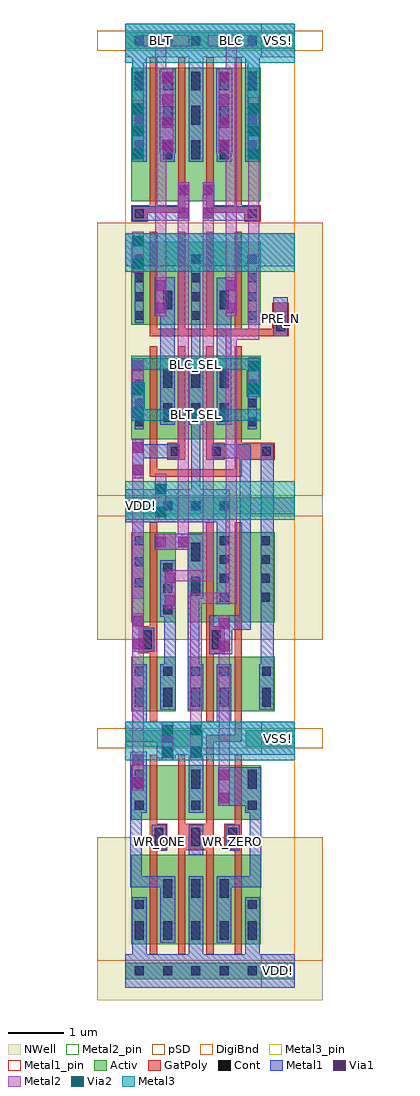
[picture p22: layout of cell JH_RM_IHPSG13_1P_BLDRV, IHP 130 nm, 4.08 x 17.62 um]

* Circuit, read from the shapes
.subckt JH_RM_IHPSG13_1P_BLDRV BLC BLC_SEL BLT BLT_SEL PRE_N SEL_P VDD! VSS! WR_ONE WR_ZERO
XM1 n1 WR_ONE n2 VSS! sg13_lv_nmos w=0.98u l=0.13u
XM2 n3 n2 VSS! VSS! sg13_lv_nmos w=0.98u l=0.13u
XM3 BLT n4 VSS! VSS! sg13_lv_nmos w=2.41u l=0.13u m=2
XM4 VSS! SEL_P n1 VSS! sg13_lv_nmos w=0.98u l=0.13u
XM5 n5 SEL_P VSS! VSS! sg13_lv_nmos w=0.98u l=0.13u
XM6 VSS! n6 n4 VSS! sg13_lv_nmos w=0.98u l=0.13u
XM7 BLC n3 VSS! VSS! sg13_lv_nmos w=2.41u l=0.13u m=2
XM8 n6 WR_ZERO n5 VSS! sg13_lv_nmos w=0.98u l=0.13u
XM9 n7 SEL_P VSS! VSS! sg13_lv_nmos w=0.98u l=0.13u
XM10 n2 WR_ONE VDD! VDD! sg13_lv_pmos w=1.62u l=0.13u
XM11 n3 n2 VDD! VDD! sg13_lv_pmos w=1.62u l=0.13u
XM12 BLT n7 BLT_SEL VDD! sg13_lv_pmos w=1.5u l=0.13u
XM13 BLT PRE_N VDD! VDD! sg13_lv_pmos w=1.5u l=0.13u m=2
XM14 VDD! SEL_P n2 VDD! sg13_lv_pmos w=1.62u l=0.13u
XM15 VDD! n2 BLT VDD! sg13_lv_pmos w=1.5u l=0.13u
XM16 n6 SEL_P VDD! VDD! sg13_lv_pmos w=1.62u l=0.13u
XM17 VDD! n6 n4 VDD! sg13_lv_pmos w=1.62u l=0.13u
XM18 BLC n6 VDD! VDD! sg13_lv_pmos w=1.5u l=0.13u
XM19 BLC PRE_N VDD! VDD! sg13_lv_pmos w=1.5u l=0.13u m=2
XM20 VDD! WR_ZERO n6 VDD! sg13_lv_pmos w=1.62u l=0.13u
XM21 n7 SEL_P VDD! VDD! sg13_lv_pmos w=1.62u l=0.13u
XM22 BLC_SEL n7 BLC VDD! sg13_lv_pmos w=1.5u l=0.13u
.ends

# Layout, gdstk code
from math import pi, radians
import gdstk
lib = gdstk.Library(unit=1e-6, precision=1e-09)
def R(c, l, rs):  # rectangles x0, y0, x1, y1
    for r in rs: c.add(gdstk.rectangle(r[:2], r[2:], *l))
def A(c, l, x, y, w, h, nx, ny, dx, dy):  # array of equal rectangles
    R(c, l, [(x+i*dx, y+j*dy, x+i*dx+w, y+j*dy+h) for i in range(nx) for j in range(ny)])
def P(c, l, *ps):  # polygons
    for p in ps: c.add(gdstk.Polygon(p, *l))
Activ = (1, 0)
GatPoly = (5, 0)
Cont = (6, 0)
Metal1 = (8, 0)
Metal1_pin = (8, 2)
Metal2 = (10, 0)
Metal2_pin = (10, 2)
pSD = (14, 0)
DigiBnd = (16, 0)
Via1 = (19, 0)
Via2 = (29, 0)
Metal3 = (30, 0)
Metal3_pin = (30, 2)
NWell = (31, 0)

jh_viagen23_cdns_7564811 = lib.new_cell('JH_viagen23_CDNS_7564811692532')
R(jh_viagen23_cdns_7564811, Metal2, [(-0.105,-0.35,0.105,0.35)])
R(jh_viagen23_cdns_7564811, Via2, [(-0.095,-0.3,0.095,-0.11), (-0.095,0.11,0.095,0.3)])
R(jh_viagen23_cdns_7564811, Metal3, [(-0.1,-0.35,0.1,0.35)])

jh_viagen12_cdns_7564811 = lib.new_cell('JH_viagen12_CDNS_7564811692533')
R(jh_viagen12_cdns_7564811, Metal1, [(-0.105,-0.35,0.105,0.35)])
R(jh_viagen12_cdns_7564811, Metal2, [(-0.1,-0.35,0.1,0.35)])
R(jh_viagen12_cdns_7564811, Via1, [(-0.095,-0.3,0.095,-0.11), (-0.095,0.11,0.095,0.3)])

c_jh_viagen12_cdns_7564811 = lib.new_cell('JH_viagen12_CDNS_7564811692534')
R(c_jh_viagen12_cdns_7564811, Metal1, [(-0.145,-0.76,0.145,0.76)])
R(c_jh_viagen12_cdns_7564811, Metal2, [(-0.1,-0.76,0.1,0.76)])
A(c_jh_viagen12_cdns_7564811, Via1, -0.095, -0.71, 0.19, 0.19, 1, 4, 0, 0.41)

jh_m2_m1_cdns_7564811692 = lib.new_cell('JH_M2_M1_CDNS_7564811692535')
R(jh_m2_m1_cdns_7564811692, Metal1, [(-0.31,-0.145,0.56,0.145)])
R(jh_m2_m1_cdns_7564811692, Metal2, [(-0.305,-0.145,0.305,0.145)])
R(jh_m2_m1_cdns_7564811692, Via1, [(-0.3,-0.095,-0.11,0.095), (0.11,-0.095,0.3,0.095)])

c_jh_viagen23_cdns_7564811 = lib.new_cell('JH_viagen23_CDNS_7564811692536')
R(c_jh_viagen23_cdns_7564811, Metal2, [(-0.1,-0.35,0.1,0.35)])
R(c_jh_viagen23_cdns_7564811, Via2, [(-0.095,-0.3,0.095,-0.11), (-0.095,0.11,0.095,0.3)])
R(c_jh_viagen23_cdns_7564811, Metal3, [(-0.125,-0.35,0.125,0.35)])

c_jh_viagen23_cdns_7564811_ = lib.new_cell('JH_viagen23_CDNS_7564811692537')
R(c_jh_viagen23_cdns_7564811_, Metal2, [(-0.1,-0.35,0.1,0.35)])
R(c_jh_viagen23_cdns_7564811_, Via2, [(-0.095,-0.3,0.095,-0.11), (-0.095,0.11,0.095,0.3)])
R(c_jh_viagen23_cdns_7564811_, Metal3, [(-0.1,-0.35,0.1,0.35)])

c_jh_viagen12_cdns_7564811_ = lib.new_cell('JH_viagen12_CDNS_7564811692538')
R(c_jh_viagen12_cdns_7564811_, Metal1, [(-0.105,-0.35,0.105,0.35)])
R(c_jh_viagen12_cdns_7564811_, Metal2, [(-0.1,-0.37,0.1,0.37)])
R(c_jh_viagen12_cdns_7564811_, Via1, [(-0.095,-0.3,0.095,-0.11), (-0.095,0.11,0.095,0.3)])

c_jh_viagen12_cdns_7564811__ = lib.new_cell('JH_viagen12_CDNS_7564811692539')
R(c_jh_viagen12_cdns_7564811__, Metal1, [(-0.105,-0.555,0.105,0.555)])
R(c_jh_viagen12_cdns_7564811__, Metal2, [(-0.1,-0.555,0.1,0.555)])
A(c_jh_viagen12_cdns_7564811__, Via1, -0.095, -0.505, 0.19, 0.19, 1, 3, 0, 0.41)

c_jh_viagen23_cdns_7564811__ = lib.new_cell('JH_viagen23_CDNS_7564811692540')
R(c_jh_viagen23_cdns_7564811__, Metal2, [(-0.1,-0.555,0.1,0.555)])
A(c_jh_viagen23_cdns_7564811__, Via2, -0.095, -0.505, 0.19, 0.19, 1, 3, 0, 0.41)
R(c_jh_viagen23_cdns_7564811__, Metal3, [(-0.105,-0.555,0.105,0.555)])

c_jh_viagen12_cdns_7564811___ = lib.new_cell('JH_viagen12_CDNS_7564811692541')
R(c_jh_viagen12_cdns_7564811___, Metal1, [(-0.145,-0.31,0.145,0.31)])
R(c_jh_viagen12_cdns_7564811___, Metal2, [(-0.1,-0.35,0.1,0.35)])
R(c_jh_viagen12_cdns_7564811___, Via1, [(-0.095,-0.3,0.095,-0.11), (-0.095,0.11,0.095,0.3)])

jh_rm_ihpsg13_1p_bldrv = lib.new_cell('JH_RM_IHPSG13_1P_BLDRV')
A(jh_rm_ihpsg13_1p_bldrv, Activ, 0, -4.35, 3.06, 0.3, 1, 3, 0, 8.4)
R(jh_rm_ihpsg13_1p_bldrv, Activ, [(0.105,-3.72,2.445,-2.1), (0.105,-1.47,2.445,-0.49), (0,-0.15,1.395,0.15), (2.175,-0.15,3.06,0.15), (0.105,0.49,0.915,1.47), (1.125,0.49,2.7,1.47), (0.105,2.1,0.915,3.72), (1.125,2.1,2.7,3.72), (0.105,5.405,2.445,6.905), (0.105,7.465,2.445,8.965), (0.105,9.7,2.445,12.11)])
P(jh_rm_ihpsg13_1p_bldrv, GatPoly, [(0.445,0.3),(0.445,1.54),(0.245,1.54),(0.245,2.02),(0.445,2.02),(0.445,3.9),(0.575,3.9),(0.575,0.3)],
  [(0.445,-3.9),(0.445,-0.3),(0.575,-0.3),(0.575,-1.54),(0.76,-1.54),(0.76,-2.02),(0.575,-2.02),(0.575,-3.9)],
  [(0.105,9.325),(0.105,9.625),(0.445,9.625),(0.445,12.3),(0.575,12.3),(0.575,9.625),(0.955,9.625),(0.955,12.3),(1.085,12.3),(1.085,9.495),(0.405,9.495),(0.405,9.325)],
  [(0.755,5.035),(0.755,5.335),(0.955,5.335),(0.955,7.085),(1.085,7.085),(1.085,5.035)],
  [(1.465,5.035),(1.465,7.085),(1.595,7.085),(1.595,5.335),(1.795,5.335),(1.795,5.035)],
  [(1.465,0.3),(1.465,3.9),(1.595,3.9),(1.595,2.02),(1.795,2.02),(1.795,1.54),(1.595,1.54),(1.595,0.3)],
  [(0.955,-3.9),(0.955,-0.3),(1.085,-0.3),(1.085,-1.54),(1.465,-1.54),(1.465,0.065),(1.975,0.065),(1.975,3.9),(2.105,3.9),(2.105,-0.065),(1.595,-0.065),(1.595,-3.9),(1.465,-3.9),(1.465,-2.02),(1.085,-2.02),(1.085,-3.9)],
  [(1.975,-3.9),(1.975,-2.02),(1.79,-2.02),(1.79,-1.54),(1.975,-1.54),(1.975,-0.3),(2.105,-0.3),(2.105,-3.9)],
  [(2.145,9.325),(2.145,9.495),(1.465,9.495),(1.465,12.3),(1.595,12.3),(1.595,9.625),(1.975,9.625),(1.975,12.3),(2.105,12.3),(2.105,9.625),(2.445,9.625),(2.445,9.325)],
  [(0.445,4.725),(0.445,7.085),(0.575,7.085),(0.575,4.855),(1.975,4.855),(1.975,7.085),(2.105,7.085),(2.105,5.335),(2.7,5.335),(2.7,5.035),(2.105,5.035),(2.105,4.725)],
  [(0.445,7.265),(0.445,9.145),(0.575,9.145),(0.575,7.395),(0.955,7.395),(0.955,9.145),(1.085,9.145),(1.085,7.395),(1.465,7.395),(1.465,9.145),(1.595,9.145),(1.595,7.395),(1.975,7.395),(1.975,9.145),(2.105,9.145),(2.105,7.395),(2.655,7.395),(2.655,7.865),(2.955,7.865),(2.955,7.265)])
A(jh_rm_ihpsg13_1p_bldrv, Cont, 0.175, -4.28, 0.16, 0.16, 6, 2, 0.51, 16.8)
A(jh_rm_ihpsg13_1p_bldrv, Cont, 0.175, -3.64, 0.16, 0.34, 5, 2, 0.51, 14.1)
A(jh_rm_ihpsg13_1p_bldrv, Cont, 0.685, -2.88, 0.16, 0.34, 3, 2, 0.51, 8.595)
A(jh_rm_ihpsg13_1p_bldrv, Cont, 0.53, -1.95, 0.16, 0.34, 3, 1, 0.665, 0)
A(jh_rm_ihpsg13_1p_bldrv, Cont, 0.175, -1.29, 0.16, 0.16, 3, 2, 1.02, 8.845)
A(jh_rm_ihpsg13_1p_bldrv, Cont, 0.175, -0.91, 0.16, 0.34, 3, 1, 1.02, 0)
A(jh_rm_ihpsg13_1p_bldrv, Cont, 0.175, 0.57, 0.16, 0.34, 4, 1, 0.51, 0)
A(jh_rm_ihpsg13_1p_bldrv, Cont, 0.175, 1.13, 0.16, 0.16, 4, 2, 0.51, 2.99)
A(jh_rm_ihpsg13_1p_bldrv, Cont, 0.685, 2.245, 0.16, 0.16, 1, 3, 0, 0.38)
A(jh_rm_ihpsg13_1p_bldrv, Cont, 1.705, 2.47, 0.16, 0.16, 1, 4, 0, 0.34)
A(jh_rm_ihpsg13_1p_bldrv, Cont, 2.45, 2.47, 0.16, 0.16, 1, 4, 0, 0.34)
A(jh_rm_ihpsg13_1p_bldrv, Cont, 0.175, 2.73, 0.16, 0.16, 1, 3, 0, 0.38)
A(jh_rm_ihpsg13_1p_bldrv, Cont, 0.175, 5.635, 0.16, 0.16, 1, 4, 0, 0.34)
A(jh_rm_ihpsg13_1p_bldrv, Cont, 2.215, 5.635, 0.16, 0.16, 1, 4, 0, 0.34)
A(jh_rm_ihpsg13_1p_bldrv, Cont, 0.685, 6.335, 0.16, 0.34, 3, 1, 0.51, 0)
A(jh_rm_ihpsg13_1p_bldrv, Cont, 0.175, 7.895, 0.16, 0.16, 3, 3, 1.02, 0.34)
A(jh_rm_ihpsg13_1p_bldrv, Cont, 0.175, 11.08, 0.16, 0.34, 5, 2, 0.51, 0.62)
R(jh_rm_ihpsg13_1p_bldrv, Cont, [(0.175,-3.08,0.335,-2.92), (2.215,-3.08,2.375,-2.92), (0.685,-0.08,0.845,0.08), (2.725,-0.08,2.885,0.08), (2.47,0.57,2.63,0.91), (2.47,1.13,2.63,1.29), (0.315,1.61,0.475,1.95), (1.565,1.61,1.725,1.95), (1.195,2.575,1.355,2.915), (1.195,3.195,1.355,3.535), (0.825,5.105,0.985,5.265), (1.565,5.105,1.725,5.265), (2.47,5.105,2.63,5.265), (2.725,7.35,2.885,7.69), (0.685,7.745,0.845,8.085), (1.705,7.745,1.865,8.085), (0.175,9.395,0.335,9.555), (2.215,9.395,2.375,9.555)])
R(jh_rm_ihpsg13_1p_bldrv, Metal1, [(1.145,-2.1,1.405,-1.56), (0.48,-2.03,0.74,-1.56), (1.81,-2.03,2.07,-1.56), (0.125,5.055,0.985,5.315), (0.175,5.585,0.335,6.865), (2.215,5.585,2.375,6.645), (0.635,5.665,0.895,8.325), (1.655,5.665,1.915,8.32), (2.675,7.265,2.935,7.965), (0.125,9.345,1.155,9.605), (1.395,9.345,2.425,9.605), (0.635,10.41,0.895,12.09), (1.655,10.41,1.915,12.09)])
P(jh_rm_ihpsg13_1p_bldrv, Metal1, [(0.125,1.56),(0.125,2.26),(0.335,2.26),(0.335,2),(0.525,2),(0.525,1.56)],
  [(0.635,-3.69),(0.635,-2.69),(0.09,-2.69),(0.09,-0.24),(0.385,-0.24),(0.385,-1.34),(0.3,-1.34),(0.3,-2.49),(0.9,-2.49),(0.9,-3.69)],
  [(0.635,0.52),(0.635,1.34),(0.705,1.34),(0.705,2.195),(0.635,2.195),(0.635,3.215),(0.915,3.215),(0.915,0.52)],
  [(1.125,0.52),(1.125,3.585),(1.405,3.585),(1.405,2.525),(1.335,2.525),(1.335,1.34),(1.405,1.34),(1.405,0.52)],
  [(1.515,1.52),(1.515,2.22),(2.07,2.22),(2.07,5.055),(1.565,5.055),(1.565,5.315),(2.265,5.315),(2.265,1.96),(1.93,1.96),(1.93,1.52)],
  [(1.65,-3.69),(1.65,-2.49),(2.25,-2.49),(2.25,-1.34),(2.165,-1.34),(2.165,-1.22),(1.68,-1.22),(1.68,-0.52),(2.46,-0.52),(2.46,-2.69),(1.915,-2.69),(1.915,-3.69)],
  [(2.42,0.52),(2.42,1.34),(2.445,1.34),(2.445,5.315),(2.68,5.315),(2.68,0.52)],
  [(0.125,10.41),(0.125,12.3),(0,12.3),(0,12.9),(3.06,12.9),(3.06,12.3),(2.425,12.3),(2.425,10.41),(2.165,10.41),(2.165,12.3),(1.405,12.3),(1.405,10.41),(1.145,10.41),(1.145,12.3),(0.385,12.3),(0.385,10.41)],
  [(1.655,2.42),(1.655,3.9),(0.335,3.9),(0.335,2.525),(0.125,2.525),(0.125,3.9),(0,3.9),(0,4.5),(1.195,4.5),(1.195,5.665),(1.145,5.665),(1.145,6.725),(1.195,6.725),(1.195,8.525),(0.335,8.525),(0.335,7.505),(0.175,7.505),(0.175,8.525),(0,8.525),(0,9.125),(3.06,9.125),(3.06,8.525),(2.375,8.525),(2.375,7.505),(2.215,7.505),(2.215,8.525),(1.355,8.525),(1.355,6.725),(1.405,6.725),(1.405,5.665),(1.355,5.665),(1.355,4.5),(1.89,4.5),(1.89,2.42)],
  [(1.145,-1.34),(1.145,-0.3),(0.91,-0.3),(0.91,-0.36),(0.565,-0.36),(0.565,-0.06),(0,-0.06),(0,0.3),(0.125,0.3),(0.125,1.34),(0.385,1.34),(0.385,0.3),(1.655,0.3),(1.655,1.34),(1.915,1.34),(1.915,0.3),(3.06,0.3),(3.06,-0.3),(1.405,-0.3),(1.405,-1.34)],
  [(0,-4.5),(0,-3.9),(0.125,-3.9),(0.125,-2.87),(0.385,-2.87),(0.385,-3.9),(1.145,-3.9),(1.145,-2.49),(1.405,-2.49),(1.405,-3.9),(2.165,-3.9),(2.165,-2.87),(2.425,-2.87),(2.425,-3.9),(3.06,-3.9),(3.06,-4.5)])
A(jh_rm_ihpsg13_1p_bldrv, Metal1_pin, 0.48, -2, 0.26, 0.26, 3, 1, 0.665, 0)
R(jh_rm_ihpsg13_1p_bldrv, Metal1_pin, [(2.46,-4.5,3.06,-3.9), (2.46,-0.3,3.06,0.3), (0.001,3.9,0.601,4.5), (2.675,7.45,2.935,7.71), (2.46,12.3,3.06,12.9)])
R(jh_rm_ihpsg13_1p_bldrv, Metal2, [(1.685,-1.22,1.885,1.76), (0.13,-0.725,0.33,5.4), (0.95,3.65,1.15,9.605), (0.54,3.945,0.74,4.78), (2.22,6.865,2.42,6.885)])
P(jh_rm_ihpsg13_1p_bldrv, Metal2, [(0.54,7.625),(0.54,12.5),(0.22,12.5),(0.22,12.7),(1.155,12.7),(1.155,12.5),(0.74,12.5),(0.74,7.625)],
  [(0.71,2.84),(0.71,3.04),(1.4,3.04),(1.4,9.605),(1.6,9.605),(1.6,2.84)],
  [(1.81,7.625),(1.81,12.5),(1.49,12.5),(1.49,12.7),(2.33,12.7),(2.33,12.5),(2.01,12.5),(2.01,7.625)],
  [(1.17,0.3),(1.17,2.63),(1.81,2.63),(1.81,7.4),(2.22,7.4),(2.22,11.58),(2.42,11.58),(2.42,7.2),(2.01,7.2),(2.01,2.43),(1.38,2.43),(1.38,0.3)])
R(jh_rm_ihpsg13_1p_bldrv, Metal2_pin, [(0.54,12.5,0.74,12.7), (1.81,12.5,2.01,12.7)])
R(jh_rm_ihpsg13_1p_bldrv, pSD, [(-0.51,-4.02,3.57,-1.785), (-0.51,-0.18,3.57,0.18), (-0.51,1.785,3.57,4.02), (-0.51,4.38,3.57,9.315), (-0.51,12.42,3.57,12.78)])
R(jh_rm_ihpsg13_1p_bldrv, DigiBnd, [(0,-4.35,3.06,12.75)])
R(jh_rm_ihpsg13_1p_bldrv, Metal3, [(0,-0.4,3.06,0.3), (0,3.945,3.06,4.645), (0.105,5.735,2.445,5.945), (0.105,6.655,2.445,6.865), (0,8.425,3.06,9.125)])
P(jh_rm_ihpsg13_1p_bldrv, Metal3, [(0.125,11.52),(0.125,12.2),(0,12.2),(0,12.9),(3.06,12.9),(3.06,12.2),(2.425,12.2),(2.425,11.52),(2.215,11.52),(2.215,12.2),(0.335,12.2),(0.335,11.52)])
R(jh_rm_ihpsg13_1p_bldrv, Metal3_pin, [(1.145,5.735,1.405,5.945), (1.145,6.655,1.405,6.865)])
R(jh_rm_ihpsg13_1p_bldrv, NWell, [(-0.51,-4.725,3.57,-1.785), (-0.51,1.785,3.57,9.315)])
jh_rm_ihpsg13_1p_bldrv.add(gdstk.Reference(jh_viagen23_cdns_7564811, (0.765,-0.05), rotation=pi))
jh_rm_ihpsg13_1p_bldrv.add(gdstk.Reference(jh_viagen23_cdns_7564811, (1.275,-0.05), rotation=pi))
jh_rm_ihpsg13_1p_bldrv.add(gdstk.Reference(jh_viagen12_cdns_7564811, (2.32,6.515), rotation=pi, x_reflection=True))
jh_rm_ihpsg13_1p_bldrv.add(gdstk.Reference(jh_viagen12_cdns_7564811, (1.5,9.695), rotation=pi, x_reflection=True))
jh_rm_ihpsg13_1p_bldrv.add(gdstk.Reference(jh_viagen12_cdns_7564811, (1.91,7.975), rotation=pi, x_reflection=True))
jh_rm_ihpsg13_1p_bldrv.add(gdstk.Reference(jh_viagen12_cdns_7564811, (0.23,-0.59), rotation=pi))
jh_rm_ihpsg13_1p_bldrv.add(gdstk.Reference(jh_viagen12_cdns_7564811, (1.785,-0.87), rotation=pi))
jh_rm_ihpsg13_1p_bldrv.add(gdstk.Reference(jh_viagen12_cdns_7564811, (0.81,2.69), rotation=pi))
jh_rm_ihpsg13_1p_bldrv.add(gdstk.Reference(jh_viagen12_cdns_7564811, (1.785,1.87), rotation=pi))
jh_rm_ihpsg13_1p_bldrv.add(gdstk.Reference(jh_viagen12_cdns_7564811, (1.275,-0.05), rotation=pi))
jh_rm_ihpsg13_1p_bldrv.add(gdstk.Reference(jh_viagen12_cdns_7564811, (0.64,4.295), rotation=pi))
jh_rm_ihpsg13_1p_bldrv.add(gdstk.Reference(jh_viagen12_cdns_7564811, (0.23,1.91), rotation=pi))
jh_rm_ihpsg13_1p_bldrv.add(gdstk.Reference(jh_viagen12_cdns_7564811, (0.23,5.05)))
jh_rm_ihpsg13_1p_bldrv.add(gdstk.Reference(jh_viagen12_cdns_7564811, (0.64,7.975)))
jh_rm_ihpsg13_1p_bldrv.add(gdstk.Reference(jh_viagen12_cdns_7564811, (1.05,9.695)))
jh_rm_ihpsg13_1p_bldrv.add(gdstk.Reference(jh_viagen12_cdns_7564811, (0.23,6.515)))
jh_rm_ihpsg13_1p_bldrv.add(gdstk.Reference(c_jh_viagen12_cdns_7564811, (1.785,11.33)))
jh_rm_ihpsg13_1p_bldrv.add(gdstk.Reference(c_jh_viagen12_cdns_7564811, (0.765,11.33)))
jh_rm_ihpsg13_1p_bldrv.add(gdstk.Reference(jh_m2_m1_cdns_7564811692, (0.845,3.55)))
jh_rm_ihpsg13_1p_bldrv.add(gdstk.Reference(c_jh_viagen23_cdns_7564811, (0.23,6.085), x_reflection=True))
jh_rm_ihpsg13_1p_bldrv.add(gdstk.Reference(c_jh_viagen23_cdns_7564811, (2.32,6.515), x_reflection=True))
jh_rm_ihpsg13_1p_bldrv.add(gdstk.Reference(c_jh_viagen23_cdns_7564811_, (0.23,8.775), rotation=pi))
jh_rm_ihpsg13_1p_bldrv.add(gdstk.Reference(c_jh_viagen23_cdns_7564811_, (0.64,4.295), rotation=pi))
jh_rm_ihpsg13_1p_bldrv.add(gdstk.Reference(c_jh_viagen12_cdns_7564811_, (0.23,8.775), rotation=pi))
jh_rm_ihpsg13_1p_bldrv.add(gdstk.Reference(c_jh_viagen12_cdns_7564811__, (0.23,10.965), rotation=pi, x_reflection=True))
jh_rm_ihpsg13_1p_bldrv.add(gdstk.Reference(c_jh_viagen12_cdns_7564811__, (2.32,10.965), rotation=pi, x_reflection=True))
jh_rm_ihpsg13_1p_bldrv.add(gdstk.Reference(c_jh_viagen23_cdns_7564811__, (2.32,10.965), rotation=pi))
jh_rm_ihpsg13_1p_bldrv.add(gdstk.Reference(c_jh_viagen23_cdns_7564811__, (0.23,10.965), rotation=pi))
jh_rm_ihpsg13_1p_bldrv.add(gdstk.Reference(c_jh_viagen12_cdns_7564811___, (0.765,-0.05), rotation=pi))
jh_rm_ihpsg13_1p_bldrv.add(gdstk.Label('VDD!', (0.301,4.2), layer=8, texttype=2))
jh_rm_ihpsg13_1p_bldrv.add(gdstk.Label('VSS!', (2.76,12.6), layer=8, texttype=2))
jh_rm_ihpsg13_1p_bldrv.add(gdstk.Label('VSS!', (2.76,0), layer=8, texttype=2))
jh_rm_ihpsg13_1p_bldrv.add(gdstk.Label('VDD!', (2.76,-4.2), layer=8, texttype=2))
jh_rm_ihpsg13_1p_bldrv.add(gdstk.Label('PRE_N', (2.805,7.58), layer=8, texttype=2))
jh_rm_ihpsg13_1p_bldrv.add(gdstk.Label('WR_ZERO', (1.94,-1.87), layer=8, texttype=2))
jh_rm_ihpsg13_1p_bldrv.add(gdstk.Label('WR_ONE', (0.61,-1.87), layer=8, texttype=2))
jh_rm_ihpsg13_1p_bldrv.add(gdstk.Label('SEL_P', (1.275,-1.87), layer=8, texttype=2))
jh_rm_ihpsg13_1p_bldrv.add(gdstk.Label('BLC', (1.91,12.6), layer=10, texttype=2))
jh_rm_ihpsg13_1p_bldrv.add(gdstk.Label('BLT', (0.64,12.6), layer=10, texttype=2))
jh_rm_ihpsg13_1p_bldrv.add(gdstk.Label('BLC_SEL', (1.275,6.76), layer=30, texttype=2))
jh_rm_ihpsg13_1p_bldrv.add(gdstk.Label('BLT_SEL', (1.275,5.84), layer=30, texttype=2))

lib.write_gds('JH_RM_IHPSG13_1P_BLDRV.gds')
